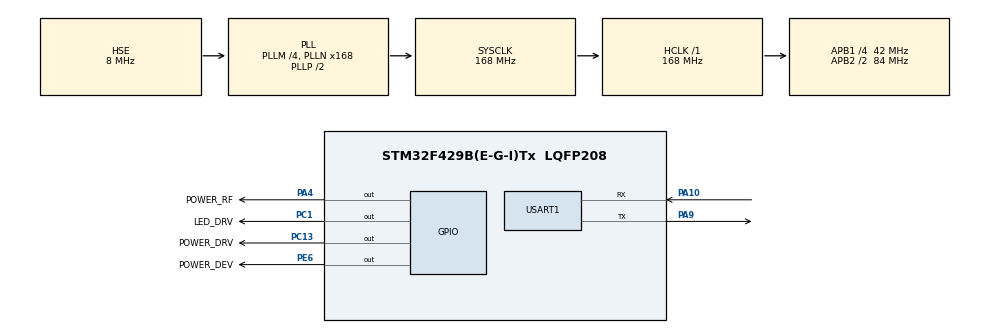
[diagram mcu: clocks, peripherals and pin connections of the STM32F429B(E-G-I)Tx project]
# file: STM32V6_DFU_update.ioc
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Mcu.Family=STM32F4
Mcu.Name=STM32F429B(E-G-I)Tx
Mcu.Package=LQFP208
NVIC.PriorityGroup=NVIC_PRIORITYGROUP_4
PA10.Mode=Asynchronous
PA10.Signal=USART1_RX
PA13.Mode=Serial_Wire
PA13.Signal=SYS_JTMS-SWDIO
PA14.Mode=Serial_Wire
PA14.Signal=SYS_JTCK-SWCLK
PA4.GPIO_Label=POWER_RF
PA4.PinState=GPIO_PIN_SET
PA4.Signal=GPIO_Output
PA9.Mode=Asynchronous
PA9.Signal=USART1_TX
PC1.GPIO_Label=LED_DRV
PC1.PinState=GPIO_PIN_SET
PC1.Signal=GPIO_Output
PC13.GPIO_Label=POWER_DRV
PC13.PinState=GPIO_PIN_SET
PC13.Signal=GPIO_Output
PE6.GPIO_Label=POWER_DEV
PE6.PinState=GPIO_PIN_SET
PE6.Signal=GPIO_Output
PH0/OSC_IN.Mode=HSE-External-Oscillator
PH0/OSC_IN.Signal=RCC_OSC_IN
PH1/OSC_OUT.Mode=HSE-External-Oscillator
PH1/OSC_OUT.Signal=RCC_OSC_OUT
ProjectManager.HeapSize=0x200
ProjectManager.StackSize=0x1000
ProjectManager.TargetToolchain=MDK-ARM V5.32
RCC.48MHZClocksFreq_Value=84000000
RCC.AHBFreq_Value=168000000
RCC.APB1CLKDivider=RCC_HCLK_DIV4
RCC.APB1Freq_Value=42000000
RCC.APB1TimFreq_Value=84000000
RCC.APB2CLKDivider=RCC_HCLK_DIV2
RCC.APB2Freq_Value=84000000
RCC.APB2TimFreq_Value=168000000
RCC.CortexFreq_Value=168000000
RCC.HCLKFreq_Value=168000000
RCC.HSE_VALUE=8000000
RCC.HSI_VALUE=16000000
RCC.LSE_VALUE=32768
RCC.PLLM=4
RCC.PLLN=168
RCC.PLLSourceVirtual=RCC_PLLSOURCE_HSE
RCC.SYSCLKFreq_VALUE=168000000
RCC.SYSCLKSource=RCC_SYSCLKSOURCE_PLLCLK
RCC.VCOOutputFreq_Value=336000000
USART1.VirtualMode=VM_ASYNC
board=custom

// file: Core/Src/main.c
/* USER CODE BEGIN Header */
/**
  ******************************************************************************
  * @file           : main.c
  * @brief          : Main program body
  ******************************************************************************
  * @attention
  *
  * Copyright (c) 2024 STMicroelectronics.
  * All rights reserved.
  *
  * This software is licensed under terms that can be found in the LICENSE file
  * in the root directory of this software component.
  * If no LICENSE file comes with this software, it is provided AS-IS.
  *
  ******************************************************************************
  */
/* USER CODE END Header */
#include "main.h"
#include "usart.h"
#include "gpio.h"

/* USER CODE BEGIN Includes */
#include "dbger.h"
/* USER CODE END Includes */

/* USER CODE BEGIN PTD */
typedef void (*pFunction)(void);
/* USER CODE END PTD */

/* USER CODE BEGIN PD */
#define BOOTLOADER_ADDRESS					(0x1FFF0000)
#define BOOTLOADER_FLAG_VALUE 			0xDEADBEEF
#define BOOTLOADER_FLAG_OFFSET 			0x50

uint32_t endstack = 0x20030000;
uint32_t *bootloader_flag;
uint32_t JumpAddress;
pFunction JumpToBootLoader;
/* USER CODE END PD */

void SystemClock_Config(void);

int main(void)
{

  /* USER CODE BEGIN 1 */
	bootloader_flag = (uint32_t*)(endstack - BOOTLOADER_FLAG_OFFSET);
	if(*bootloader_flag == BOOTLOADER_FLAG_VALUE) {
		*bootloader_flag = 0;
		__HAL_SYSCFG_REMAPMEMORY_SYSTEMFLASH();
		JumpAddress = *(__IO uint32_t*)(BOOTLOADER_ADDRESS + 4);
		JumpToBootLoader = (pFunction)JumpAddress;
		__set_MSP(*(__IO uint32_t*)BOOTLOADER_ADDRESS);		// NO need for system default startup address
		JumpToBootLoader();
	} else {
		*bootloader_flag = 0x1234ABCD;
	}
  /* USER CODE END 1 */

  /* MCU Configuration--------------------------------------------------------*/

  /* Reset of all peripherals, Initializes the Flash interface and the Systick. */
  HAL_Init();

  /* Configure the system clock */
  SystemClock_Config();

  /* USER CODE BEGIN SysInit */
	LOG_INIT();
	LOG_DBG("\n\nSTM32V6 USB DFU BootLoader test flag[0x%08x]...\n", *bootloader_flag);
  /* USER CODE END SysInit */

  /* Initialize all configured peripherals */
  MX_GPIO_Init();
  MX_USART1_UART_Init();
  /* USER CODE BEGIN 2 */
	HAL_UART_Transmit(&huart1, (uint8_t*)"send 0x5A to update...\r\n", strlen("send 0x5A to update...\r\n"), 100);
  /* USER CODE END 2 */

  /* Infinite loop */
  /* USER CODE BEGIN WHILE */
	uint8_t rxBuf[10];
	uint8_t cnt = 0;
  while (1)
  {
		HAL_Delay(1000);
		//LOG_DBG("DELAY 1s\n");
		LOG_DBG("delay 1s\n");
		cnt++;

		HAL_UART_Receive(&huart1, rxBuf, 1, 20);
		if(rxBuf[0] == 0x5A || cnt > 10) {
			*bootloader_flag = BOOTLOADER_FLAG_VALUE;
			LOG_DBG("Jump to BootLoader, flag[0x%08x]...\n", *bootloader_flag);
			HAL_Delay(100);
			__disable_irq();
			HAL_NVIC_SystemReset();
		}

    /* USER CODE END WHILE */

  }
}

void SystemClock_Config(void)
{
  RCC_OscInitTypeDef RCC_OscInitStruct = {0};
  RCC_ClkInitTypeDef RCC_ClkInitStruct = {0};

  /** Configure the main internal regulator output voltage
  */
  __HAL_RCC_PWR_CLK_ENABLE();
  __HAL_PWR_VOLTAGESCALING_CONFIG(PWR_REGULATOR_VOLTAGE_SCALE1);

  /** Initializes the RCC Oscillators according to the specified parameters
  * in the RCC_OscInitTypeDef structure.
  */
  RCC_OscInitStruct.OscillatorType = RCC_OSCILLATORTYPE_HSE;
  RCC_OscInitStruct.HSEState = RCC_HSE_ON;
  RCC_OscInitStruct.PLL.PLLState = RCC_PLL_ON;
  RCC_OscInitStruct.PLL.PLLSource = RCC_PLLSOURCE_HSE;
  RCC_OscInitStruct.PLL.PLLM = 4;
  RCC_OscInitStruct.PLL.PLLN = 168;
  RCC_OscInitStruct.PLL.PLLP = RCC_PLLP_DIV2;
  RCC_OscInitStruct.PLL.PLLQ = 4;
  if (HAL_RCC_OscConfig(&RCC_OscInitStruct) != HAL_OK)
  {
    Error_Handler();
  }

  /** Initializes the CPU, AHB and APB buses clocks
  */
  RCC_ClkInitStruct.ClockType = RCC_CLOCKTYPE_HCLK|RCC_CLOCKTYPE_SYSCLK
                              |RCC_CLOCKTYPE_PCLK1|RCC_CLOCKTYPE_PCLK2;
  RCC_ClkInitStruct.SYSCLKSource = RCC_SYSCLKSOURCE_PLLCLK;
  RCC_ClkInitStruct.AHBCLKDivider = RCC_SYSCLK_DIV1;
  RCC_ClkInitStruct.APB1CLKDivider = RCC_HCLK_DIV4;
  RCC_ClkInitStruct.APB2CLKDivider = RCC_HCLK_DIV2;

  if (HAL_RCC_ClockConfig(&RCC_ClkInitStruct, FLASH_LATENCY_5) != HAL_OK)
  {
    Error_Handler();
  }
}

void Error_Handler(void)
{
  __disable_irq();
  while (1)
  {
  }
}
